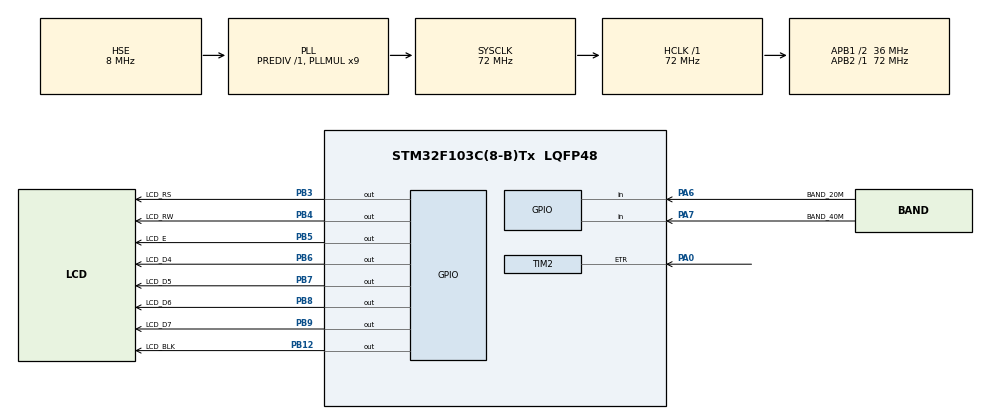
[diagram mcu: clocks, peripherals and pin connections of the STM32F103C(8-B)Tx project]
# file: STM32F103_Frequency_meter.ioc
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Mcu.Family=STM32F1
Mcu.Name=STM32F103C(8-B)Tx
Mcu.Package=LQFP48
NVIC.PriorityGroup=NVIC_PRIORITYGROUP_4
NVIC.TIM1_UP_IRQn=true\:0\:0\:false\:false\:true\:true\:true\:true
PA0-WKUP.Signal=S_TIM2_CH1_ETR
PA13.Mode=Serial_Wire
PA13.Signal=SYS_JTMS-SWDIO
PA14.Mode=Serial_Wire
PA14.Signal=SYS_JTCK-SWCLK
PA6.GPIO_Label=BAND_20M
PA6.GPIO_PuPd=GPIO_PULLUP
PA6.Signal=GPIO_Input
PA7.GPIO_Label=BAND_40M
PA7.GPIO_PuPd=GPIO_PULLUP
PA7.Signal=GPIO_Input
PB12.GPIO_Label=LCD_BLK
PB12.GPIO_Speed=GPIO_SPEED_FREQ_HIGH
PB12.PinState=GPIO_PIN_RESET
PB12.Signal=GPIO_Output
PB3.GPIO_Label=LCD_RS
PB3.GPIO_Speed=GPIO_SPEED_FREQ_HIGH
PB3.Signal=GPIO_Output
PB4.GPIO_Label=LCD_RW
PB4.GPIO_Speed=GPIO_SPEED_FREQ_HIGH
PB4.PinState=GPIO_PIN_RESET
PB4.Signal=GPIO_Output
PB5.GPIO_Label=LCD_E
PB5.GPIO_Speed=GPIO_SPEED_FREQ_HIGH
PB5.Signal=GPIO_Output
PB6.GPIO_Label=LCD_D4
PB6.GPIO_Speed=GPIO_SPEED_FREQ_HIGH
PB6.Signal=GPIO_Output
PB7.GPIO_Label=LCD_D5
PB7.GPIO_Speed=GPIO_SPEED_FREQ_HIGH
PB7.Signal=GPIO_Output
PB8.GPIO_Label=LCD_D6
PB8.GPIO_Speed=GPIO_SPEED_FREQ_HIGH
PB8.Signal=GPIO_Output
PB9.GPIO_Label=LCD_D7
PB9.GPIO_Speed=GPIO_SPEED_FREQ_HIGH
PB9.Signal=GPIO_Output
PD0-OSC_IN.Mode=HSE-External-Oscillator
PD0-OSC_IN.Signal=RCC_OSC_IN
PD1-OSC_OUT.Mode=HSE-External-Oscillator
PD1-OSC_OUT.Signal=RCC_OSC_OUT
ProjectManager.HeapSize=0x200
ProjectManager.StackSize=0x400
ProjectManager.TargetToolchain=STM32CubeIDE
RCC.AHBFreq_Value=72000000
RCC.APB1CLKDivider=RCC_HCLK_DIV2
RCC.APB1Freq_Value=36000000
RCC.APB1TimFreq_Value=72000000
RCC.APB2Freq_Value=72000000
RCC.APB2TimFreq_Value=72000000
RCC.HCLKFreq_Value=72000000
RCC.PLLMUL=RCC_PLL_MUL9
RCC.PLLSourceVirtual=RCC_PLLSOURCE_HSE
RCC.RCC_MCOSource=RCC_MCO1SOURCE_HSE
RCC.SYSCLKFreq_VALUE=72000000
RCC.SYSCLKSource=RCC_SYSCLKSOURCE_PLLCLK
RCC.USBFreq_Value=72000000
SH.S_TIM2_CH1_ETR.0=TIM2_ETR,ClockSourceETR_Mode2
TIM1.CounterMode=TIM_COUNTERMODE_DOWN
TIM1.Period=9999
TIM1.Prescaler=7199
TIM1.TIM_MasterOutputTrigger=TIM_TRGO_ENABLE
TIM2.TIM_MasterOutputTrigger=TIM_TRGO_UPDATE
TIM4.Period=0xFFFF-1
TIM4.Prescaler=72-1
VP_TIM1_VS_ClockSourceINT.Mode=Internal
VP_TIM1_VS_OPM.Mode=OPM_bit
VP_TIM2_VS_ClockSourceITR.Mode=TriggerSource_ITR0
VP_TIM2_VS_ControllerModeGated.Mode=Gated Mode
VP_TIM3_VS_ClockSourceITR.Mode=TriggerSource_ITR1
VP_TIM3_VS_ControllerModeClock.Mode=Clock Mode
VP_TIM4_VS_ClockSourceINT.Mode=Internal
board=custom

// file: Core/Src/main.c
/* USER CODE BEGIN Header */
/**
 ******************************************************************************
 * @file           : main.c
 * @brief          : Main program body
 ******************************************************************************
 * @attention
 *
 * Copyright (c) 2022 STMicroelectronics.
 * All rights reserved.
 *
 * This software is licensed under terms that can be found in the LICENSE file
 * in the root directory of this software component.
 * If no LICENSE file comes with this software, it is provided AS-IS.
 *
 ******************************************************************************
 */
/* USER CODE END Header */
#include "main.h"
#include "tim.h"
#include "gpio.h"

/* USER CODE BEGIN Includes */
#include "hd44780.h"
#include "stm32_device.h"
#include "stdio.h"
/* USER CODE END Includes */

/* USER CODE BEGIN PV */
volatile uint32_t freq = 0;
/* USER CODE END PV */

void SystemClock_Config(void);
/* USER CODE BEGIN PFP */
void set_lcd_brightness();
void print_freq_format(int freq_value);
/* USER CODE END PFP */

int main(void) {

	/* MCU Configuration--------------------------------------------------------*/

	/* Reset of all peripherals, Initializes the Flash interface and the Systick. */
	HAL_Init();

	/* Configure the system clock */
	SystemClock_Config();

	/* Initialize all configured peripherals */
	MX_GPIO_Init();
	MX_TIM1_Init();
	MX_TIM2_Init();
	MX_TIM3_Init();
	MX_TIM4_Init();
	/* USER CODE BEGIN 2 */
	HAL_Delay(100);
	HAL_TIM_Base_Start_IT(&htim1);
	HAL_TIM_Base_Start(&htim2);
	HAL_TIM_Base_Start(&htim3);

	set_lcd_brightness();

	lcdInit(&lcdConfig);
	lcdClrScr();

	uint8_t freq_scaler = 1;
	uint8_t LCD_BUFFER[12] = { };
	char str_Hz[] = "Hz";
	char str_MHz[] = "MHz";
	char str_M[] = "M";
	/* USER CODE END 2 */

	/* Infinite loop */
	/* USER CODE BEGIN WHILE */

	while (1) {
		// Вивід частоти

		print_freq_format(freq * freq_scaler);

		if (HAL_GPIO_ReadPin(BAND_20M_GPIO_Port, BAND_20M_Pin)
				&& HAL_GPIO_ReadPin(BAND_40M_GPIO_Port, BAND_40M_Pin)) {
			freq_scaler = 1;
			lcdGoto(2, 0);
			sprintf(LCD_BUFFER, "%2d%s %-2d" "%s", 7, str_MHz, 40, str_M);
			lcdPuts(LCD_BUFFER);
		}

		else if (!HAL_GPIO_ReadPin(BAND_20M_GPIO_Port, BAND_20M_Pin)) {
			freq_scaler = 2;
			lcdGoto(2, 0);
			sprintf(LCD_BUFFER, "%2d%s %-2d" "%s", 14, str_MHz, 20, str_M);
			lcdPuts(LCD_BUFFER);
		} else if (!HAL_GPIO_ReadPin(BAND_40M_GPIO_Port, BAND_40M_Pin)) {
			freq_scaler = 3;
			lcdGoto(2, 0);
			sprintf(LCD_BUFFER, "%2d%s %-2d" "%s", 21, str_MHz, 10, str_M);
			lcdPuts(LCD_BUFFER);
		} else {
			freq_scaler = 31;
			lcdGoto(2, 3);
			lcdPuts("ERR");
		}

		/* USER CODE END WHILE */

	}
}

void SystemClock_Config(void) {
	RCC_OscInitTypeDef RCC_OscInitStruct = { 0 };
	RCC_ClkInitTypeDef RCC_ClkInitStruct = { 0 };

	/** Initializes the RCC Oscillators according to the specified parameters
	 * in the RCC_OscInitTypeDef structure.
	 */
	RCC_OscInitStruct.OscillatorType = RCC_OSCILLATORTYPE_HSE;
	RCC_OscInitStruct.HSEState = RCC_HSE_ON;
	RCC_OscInitStruct.HSEPredivValue = RCC_HSE_PREDIV_DIV1;
	RCC_OscInitStruct.HSIState = RCC_HSI_ON;
	RCC_OscInitStruct.PLL.PLLState = RCC_PLL_ON;
	RCC_OscInitStruct.PLL.PLLSource = RCC_PLLSOURCE_HSE;
	RCC_OscInitStruct.PLL.PLLMUL = RCC_PLL_MUL9;
	if (HAL_RCC_OscConfig(&RCC_OscInitStruct) != HAL_OK) {
		Error_Handler();
	}

	/** Initializes the CPU, AHB and APB buses clocks
	 */
	RCC_ClkInitStruct.ClockType = RCC_CLOCKTYPE_HCLK | RCC_CLOCKTYPE_SYSCLK
			| RCC_CLOCKTYPE_PCLK1 | RCC_CLOCKTYPE_PCLK2;
	RCC_ClkInitStruct.SYSCLKSource = RCC_SYSCLKSOURCE_PLLCLK;
	RCC_ClkInitStruct.AHBCLKDivider = RCC_SYSCLK_DIV1;
	RCC_ClkInitStruct.APB1CLKDivider = RCC_HCLK_DIV2;
	RCC_ClkInitStruct.APB2CLKDivider = RCC_HCLK_DIV1;

	if (HAL_RCC_ClockConfig(&RCC_ClkInitStruct, FLASH_LATENCY_2) != HAL_OK) {
		Error_Handler();
	}
}

/* USER CODE BEGIN 4 */
void HAL_TIM_PeriodElapsedCallback(TIM_HandleTypeDef *htim) {
	if (htim == &htim1) {
		freq = TIM2->CNT + (TIM3->CNT << 16);
		HAL_TIM_Base_Stop_IT(&htim1);
		__HAL_TIM_SET_COUNTER(&htim2, 0x0000);
		__HAL_TIM_SET_COUNTER(&htim3, 0x0000);
		HAL_TIM_Base_Start_IT(&htim1);
	}
}
void set_lcd_brightness() {
	HAL_GPIO_WritePin(LCD_BLK_GPIO_Port, LCD_BLK_Pin, GPIO_PIN_SET);
}

void print_freq_format(int freq_value) {
	int DIG1, DIG2, DIG3, DIG4, DIG5, DIG6;
	char LCD_BUFFER[12];
	DIG1 = freq_value % 100000000 / 10000000;
	DIG2 = freq_value % 10000000 / 1000000;
	DIG3 = freq_value % 1000000 / 100000;
	DIG4 = freq_value % 100000 / 10000;
	DIG5 = freq_value % 10000 / 1000;
	DIG6 = freq_value % 1000 / 100;
	sprintf(LCD_BUFFER, "%d%d.%d%d%d.%d00Hz", DIG1, DIG2, DIG3, DIG4, DIG5, DIG6);
	lcdGoto(1, 0);
	lcdPuts(LCD_BUFFER);
}

/* USER CODE END 4 */

void Error_Handler(void) {
	__disable_irq();
	while (1) {
	}
}
